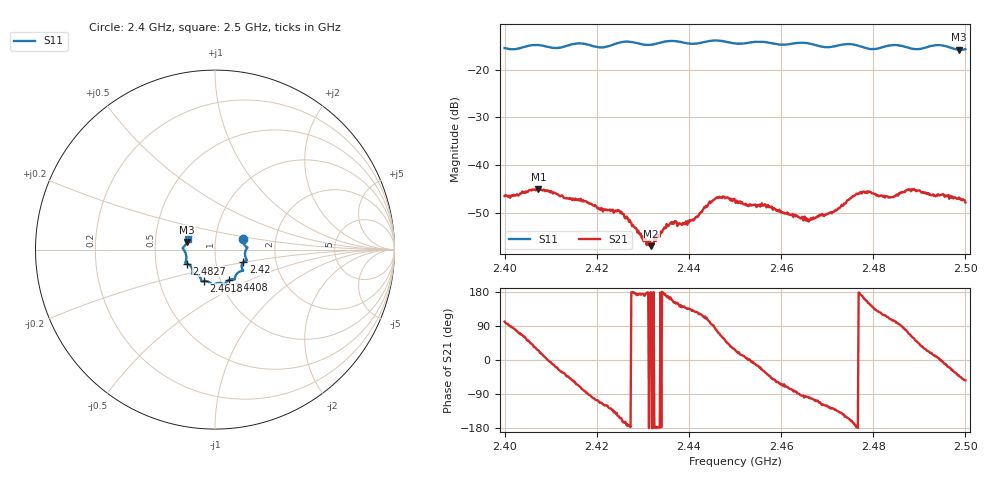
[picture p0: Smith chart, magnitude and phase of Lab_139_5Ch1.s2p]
# Hz S RI R 50
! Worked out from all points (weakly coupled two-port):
!   601 points, 2.4 GHz to 2.5 GHz, reference 50 ohm
!   highest |S21| = -44.94 dB at 2.4073 GHz (marker M1); lowest = -56.9 dB at 2.4318 GHz (marker M2)
!   lowest |S11| = -15.8 dB at 2.4987 GHz (marker M3), VSWR 1.38, Z = 36.4 + j3.17 ohm
!   |S11| at or under -10 dB: start of sweep to end of sweep
!   S12 and S22 are empty: the file has one direction only
!   S11 on the Smith chart (normalised r, x): 2.4 GHz: 1.36, +0.17; 2.42 GHz: 1.36, -0.19; 2.4408 GHz: 1.10, -0.39; 2.4618 GHz: 0.84, -0.30; 2.4827 GHz: 0.72, -0.12; 2.5 GHz: 0.73, +0.09
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2.4e9  0.1563 0.0617  -0.000912 0.00468  0 0  0 0
2.407333e9  0.1804 0.0101  0.00511 0.00243  0 0  0 0
2.411333e9  0.1669 -0.0214  0.00471 -0.00165  0 0  0 0
2.416667e9  0.1783 -0.0595  0.00102 -0.00409  0 0  0 0
2.42e9  0.1579 -0.0694  -0.00103 -0.00347  0 0  0 0
2.425333e9  0.1559 -0.1151  -0.00293 -0.00146  0 0  0 0
2.431833e9  0.1187 -0.1382  -0.00142 4.45e-05  0 0  0 0
2.433333e9  0.112 -0.152  -0.00186 -0.000109  0 0  0 0
2.435667e9  0.1106 -0.1656  -0.00229 0.000627  0 0  0 0
2.440833e9  0.0791 -0.1688  -0.00178 0.00205  0 0  0 0
2.446167e9  0.051 -0.1952  0.00116 0.00449  0 0  0 0
2.45e9  0.0276 -0.1858  0.00382 0.00194  0 0  0 0
2.461833e9  -0.0602 -0.1752  0.000749 -0.00295  0 0  0 0
2.466667e9  -0.0769 -0.1685  -0.000589 -0.00266  0 0  0 0
2.4715e9  -0.1103 -0.1359  -0.00207 -0.00253  0 0  0 0
2.4775e9  -0.1252 -0.1196  -0.00499 0.00087  0 0  0 0
2.482667e9  -0.1569 -0.0778  -0.00212 0.00422  0 0  0 0
2.483333e9  -0.161 -0.0765  -0.00165 0.00427  0 0  0 0
2.488333e9  -0.1595 -0.0455  0.0026 0.00498  0 0  0 0
2.494167e9  -0.1803 0.0089  0.00493 0.000425  0 0  0 0
2.498667e9  -0.1556 0.0424  0.00339 -0.00311  0 0  0 0
2.5e9  -0.1519 0.0615  0.00243 -0.00328  0 0  0 0
